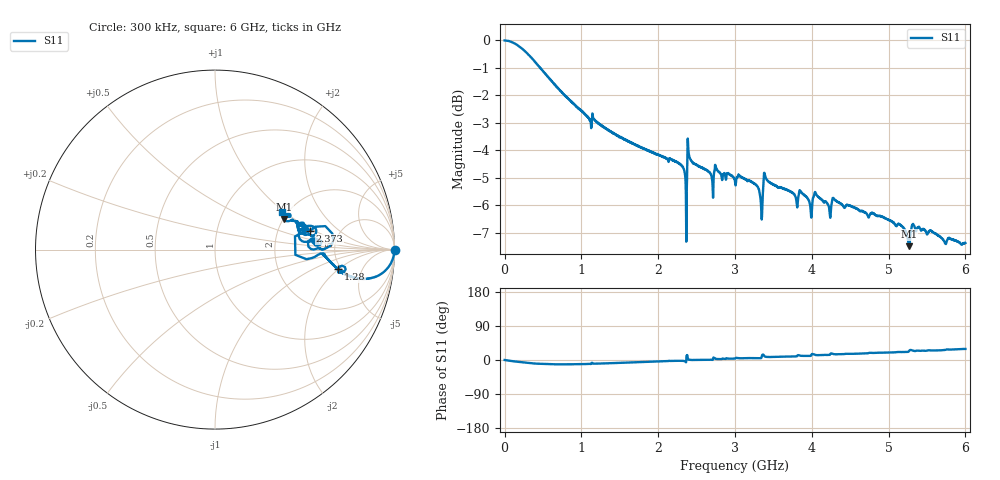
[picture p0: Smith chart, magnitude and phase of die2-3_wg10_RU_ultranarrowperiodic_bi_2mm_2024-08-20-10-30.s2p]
!Keysight Technologies,P9374A,MY57304198,A.17.20.09
!Date: Tuesday, August 20, 2024 10:30:59
!Correction: S11(C  1-Port  )
!S21(C  1-Port  )
!S12(Off)
!S22(Off)
!S2P File: Measurements: S11, S21, S12, S22:
# Hz S  dB  R 50
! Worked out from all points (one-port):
!   6000 points, 300 kHz to 6 GHz, reference 50 ohm
!   lowest |S11| = -7.5 dB at 5.267 GHz (marker M1), VSWR 2.46, Z = 101 + j41.9 ohm
!   |S11| at or under -10 dB: nowhere
!   S11 on the Smith chart (normalised r, x): 300 kHz: open; 1.28 GHz: 4.70, -2.00; 2.373 GHz: 3.03, +0.89; 6 GHz: 1.87, +0.95
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300000  0.00 -0.0  -200.00 45.0  -200.00 45.0  -200.00 45.0
4.143483e8  -0.83 -9.5  -200.00 45.0  -200.00 45.0  -200.00 45.0
1.000417e9  -2.55 -10.8  -200.00 45.0  -200.00 45.0  -200.00 45.0
1.280449e9  -3.15 -9.1  -200.00 45.0  -200.00 45.0  -200.00 45.0
2.000533e9  -4.15 -3.8  -200.00 45.0  -200.00 45.0  -200.00 45.0
2.334572e9  -4.69 -2.5  -200.00 45.0  -200.00 45.0  -200.00 45.0
2.372577e9  -5.39 11.2  -200.00 45.0  -200.00 45.0  -200.00 45.0
2.39658e9  -4.10 0.9  -200.00 45.0  -200.00 45.0  -200.00 45.0
2.409581e9  -4.27 0.5  -200.00 45.0  -200.00 45.0  -200.00 45.0
2.695614e9  -4.96 0.5  -200.00 45.0  -200.00 45.0  -200.00 45.0
2.762622e9  -4.71 2.5  -200.00 45.0  -200.00 45.0  -200.00 45.0
3.00065e9  -5.14 3.6  -200.00 45.0  -200.00 45.0  -200.00 45.0
3.315687e9  -5.49 4.8  -200.00 45.0  -200.00 45.0  -200.00 45.0
3.34169e9  -6.17 5.3  -200.00 45.0  -200.00 45.0  -200.00 45.0
3.378694e9  -4.82 11.5  -200.00 45.0  -200.00 45.0  -200.00 45.0
3.504709e9  -5.24 8.0  -200.00 45.0  -200.00 45.0  -200.00 45.0
4.000767e9  -6.21 15.7  -200.00 45.0  -200.00 45.0  -200.00 45.0
4.063774e9  -5.63 12.9  -200.00 45.0  -200.00 45.0  -200.00 45.0
5.000883e9  -6.53 19.8  -200.00 45.0  -200.00 45.0  -200.00 45.0
5.266914e9  -7.50 23.8  -200.00 45.0  -200.00 45.0  -200.00 45.0
5.322921e9  -6.71 24.3  -200.00 45.0  -200.00 45.0  -200.00 45.0
6e9  -7.39 29.2  -200.00 45.0  -200.00 45.0  -200.00 45.0
